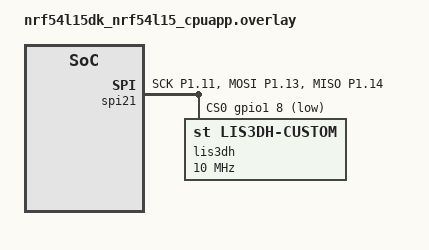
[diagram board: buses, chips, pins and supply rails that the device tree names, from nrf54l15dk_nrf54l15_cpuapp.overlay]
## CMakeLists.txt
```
cmake_minimum_required(VERSION 3.20.0)
find_package(Zephyr REQUIRED HINTS $ENV{ZEPHYR_BASE})

project(spi_lis3dh)

target_sources(app PRIVATE src/main.c)
```

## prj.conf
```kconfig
# Logging
CONFIG_LOG=y
CONFIG_LOG_DEFAULT_LEVEL=4
CONFIG_GPIO=y
CONFIG_SPI=y
CONFIG_SENSOR=y
CONFIG_SENSOR_ASYNC_API=y
```

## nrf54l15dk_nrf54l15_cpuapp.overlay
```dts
// To get started, press Ctrl+Space to bring up the completion menu and view the available nodes.

// You can also use the buttons in the sidebar to perform actions on nodes.
// Actions currently available include:

// * Enabling / disabling the node
// * Adding the bus to a bus
// * Removing the node
// * Connecting ADC channels

// For more help, browse the DeviceTree documentation at https: //docs.zephyrproject.org/latest/guides/dts/index.html
// You can also visit the nRF DeviceTree extension documentation at https: //docs.nordicsemi.com/bundle/nrf-connect-vscode/page/guides/ncs_configure_app.html#devicetree-support-in-the-extension


&spi21 {
	status = "okay";
	pinctrl-0 = <&spi21_default>;
	pinctrl-names = "default";
	lis3dh:lis3dh@0 {
		compatible = "st,lis3dh-custom";
		reg = <0x0>;
		spi-max-frequency = <DT_FREQ_M(10)>;
	};

	cs-gpios = <&gpio1 8 GPIO_ACTIVE_LOW>;
};

&pinctrl {
	spi21_default: spi21_default {
		group1 {
			psels = <NRF_PSEL(SPIM_SCK, 1, 11)>,
					<NRF_PSEL(SPIM_MOSI, 1, 13)>,
					<NRF_PSEL(SPIM_MISO, 1, 14)>;
		};
	};
};
```

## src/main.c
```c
#include <stdint.h>
#include <zephyr/kernel.h>
#include <zephyr/logging/log.h>
#include <zephyr/device.h>
#include <zephyr/devicetree.h>
#include <zephyr/drivers/gpio.h>
#include <zephyr/drivers/spi.h>
#include <lis3dh_driver.h>

LOG_MODULE_REGISTER(main, LOG_LEVEL_DBG);
// 模式00和模式11是最常用的两种SPI模式，模式00是时钟空闲时为低电平，数据采样时钟上升沿，模式11是时钟空闲时为高电平，数据采样时钟下降沿。
// 并且这两种模式读出数据一致，都可用。
#define SPIOP SPI_WORD_SET(8) | SPI_TRANSFER_MSB | SPI_MODE_CPOL | SPI_MODE_CPHA

struct spi_dt_spec spispec = SPI_DT_SPEC_GET(DT_NODELABEL(lis3dh), SPIOP, 0);

static int lis3dh_write_reg(uint8_t reg, uint8_t value) {
    int err;

    uint8_t tx_buf[]                  = {(reg & 0x7F), value};
    struct spi_buf tx_spi_buf         = {.buf = tx_buf, .len = sizeof(tx_buf)};
    struct spi_buf_set tx_spi_buf_set = {.buffers = &tx_spi_buf, .count = 1};

    err = spi_write_dt(&spispec, &tx_spi_buf_set);
    if (err < 0) {
        LOG_ERR("spi_write_dt() failed, err %d", err);
        return err;
    }

    return 0;
}

static int lis3dh_read_reg(uint8_t reg, uint8_t* data, uint8_t size) {
    int err;

    uint8_t tx_buffer                 = reg | 0x80;
    struct spi_buf tx_spi_buf         = {.buf = (void*)&tx_buffer, .len = 1};
    struct spi_buf_set tx_spi_buf_set = {.buffers = &tx_spi_buf, .count = 1};
    struct spi_buf rx_spi_bufs        = {.buf = data, .len = size};
    struct spi_buf_set rx_spi_buf_set = {.buffers = &rx_spi_bufs, .count = 1};

    err = spi_transceive_dt(&spispec, &tx_spi_buf_set, &rx_spi_buf_set);
    if (err < 0) {
        LOG_ERR("spi_transceive_dt() failed, err: %d", err);
        return err;
    }

    return 0;
}

int main(void) {
    int err = spi_is_ready_dt(&spispec);
    if (!err) {
        LOG_ERR("Error: SPI device is not ready, err: %d", err);
        return 0;
    }
    uint8_t data[2] = {0};
    // 重点，要读2个字节，第一个字节是dummy byte，第二个字节才是真正的数据
    lis3dh_read_reg(LIS3DH_WHO_AM_I, data, 2);

    lis3dh_write_reg(LIS3DH_CTRL_REG1, 0x2f); //50HZ,低功耗模式
    lis3dh_write_reg(LIS3DH_CTRL_REG2, 0x09); //使用高通滤波器，过滤初始加速度
    lis3dh_write_reg(LIS3DH_CTRL_REG3, 0x40); //打开INT1中断
    lis3dh_write_reg(LIS3DH_CTRL_REG4, 0x00); //-2g~2g
    lis3dh_write_reg(LIS3DH_CTRL_REG5, 0x00); //锁存INT1_SRC
    lis3dh_write_reg(LIS3DH_CTRL_REG6, 0x00);

    lis3dh_write_reg(LIS3DH_INT1_THS, 0x0B);
    //设置阈值，2g单位为16mg，4g单位为32mg，8g单位为62mg，16g单位为186mg
    lis3dh_write_reg(LIS3DH_INT1_DURATION, 0x00);   //设置唤醒时间，不需要进入睡眠
    lis3dh_read_reg(LIS3DH_REFERENCE_REG, data, 2); //读取参考值寄存器，清除直流分量
    lis3dh_write_reg(LIS3DH_INT1_CFG, 0x2A);        //当XYZ轴加速度高于阈值，产生中断

    return 0;
}
```
